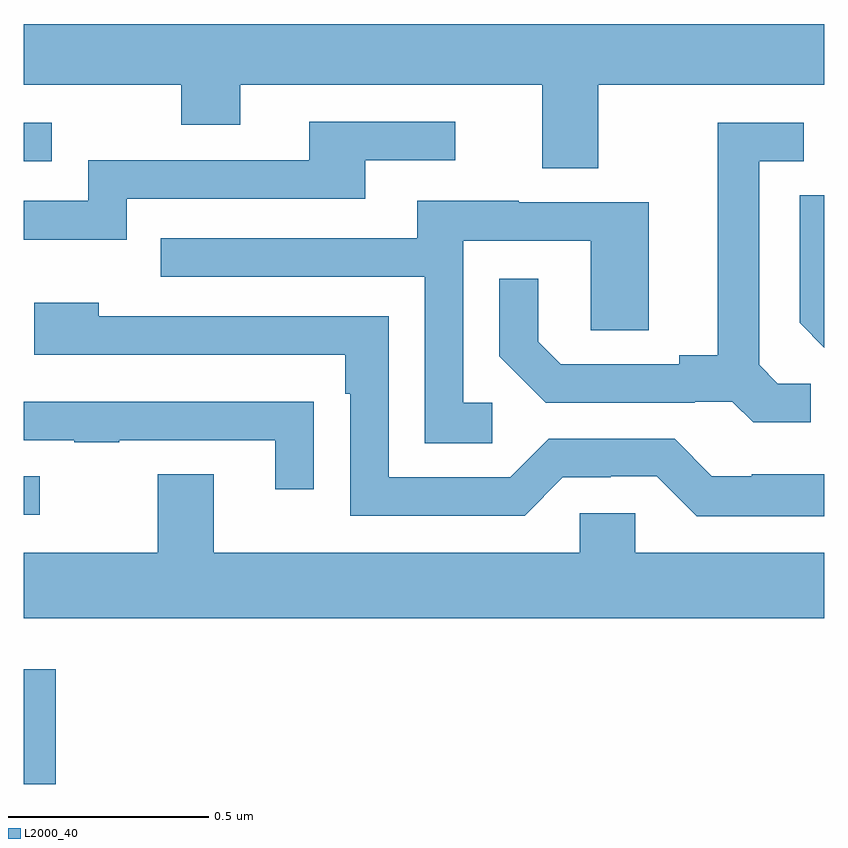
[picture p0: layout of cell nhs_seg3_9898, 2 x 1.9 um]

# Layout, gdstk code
import gdstk
lib = gdstk.Library(unit=1e-6, precision=1e-09)
def R(c, l, rs):  # rectangles x0, y0, x1, y1
    for r in rs: c.add(gdstk.rectangle(r[:2], r[2:], *l))
def P(c, l, *ps):  # polygons
    for p in ps: c.add(gdstk.Polygon(p, *l))
L2000_40 = (2000, 40)

nhs_seg3_9898 = lib.new_cell('nhs_seg3_9898')
R(nhs_seg3_9898, L2000_40, [(234,700.502,234.08,700.789), (234,701.175,234.04,701.271), (234,702.057,234.07,702.153)])
P(nhs_seg3_9898, L2000_40, [(235.435,702.248),(236,702.248),(236,702.4),(234,702.4),(234,702.248),(234.394,702.248),(234.394,702.149),(234.541,702.149),(234.541,702.248),(235.295,702.248),(235.295,702.04),(235.435,702.04)],
  [(234.258,701.964),(234.853,701.964),(234.853,702.06),(235.078,702.06),(235.078,702.156),(234.713,702.156),(234.713,702.06),(234.162,702.06),(234.162,701.958),(234,701.958),(234,701.861),(234.258,701.861)],
  [(235.966,701.502),(235.884,701.502),(235.837,701.549),(235.837,702.057),(235.948,702.057),(235.948,702.153),(235.733,702.153),(235.733,701.573),(235.637,701.573),(235.637,701.55),(235.342,701.55),(235.285,701.607),(235.285,701.764),(235.188,701.764),(235.188,701.57),(235.304,701.454),(235.676,701.454),(235.676,701.457),(235.77,701.457),(235.822,701.405),(235.966,701.405)],
  [(236,701.972),(235.938,701.972),(235.938,701.654),(236,701.592)],
  [(235.171,701.454),(235.098,701.454),(235.098,701.859),(235.416,701.859),(235.416,701.635),(235.561,701.635),(235.561,701.955),(235.237,701.955),(235.237,701.959),(234.983,701.959),(234.983,701.865),(234.343,701.865),(234.343,701.769),(235.002,701.769),(235.002,701.353),(235.171,701.353)],
  [(236,701.275),(235.819,701.275),(235.819,701.271),(235.719,701.271),(235.626,701.364),(235.311,701.364),(235.215,701.268),(234.912,701.268),(234.912,701.67),(234.188,701.67),(234.188,701.704),(234.027,701.704),(234.027,701.574),(234.803,701.574),(234.803,701.477),(234.816,701.477),(234.816,701.172),(235.251,701.172),(235.347,701.268),(235.466,701.268),(235.466,701.271),(235.581,701.271),(235.681,701.171),(236,701.171)],
  [(234.725,701.456),(234.623,701.456),(234.623,701.457),(234,701.457),(234,701.361),(234.127,701.361),(234.127,701.356),(234.239,701.356),(234.239,701.361),(234.629,701.361),(234.629,701.238),(234.725,701.238)],
  [(236,701.08),(235.527,701.08),(235.527,701.178),(235.389,701.178),(235.389,701.08),(234.475,701.08),(234.475,701.275),(234.335,701.275),(234.335,701.08),(234,701.08),(234,700.916),(236,700.916)])

lib.write_gds('nhs_seg3_9898.gds')
